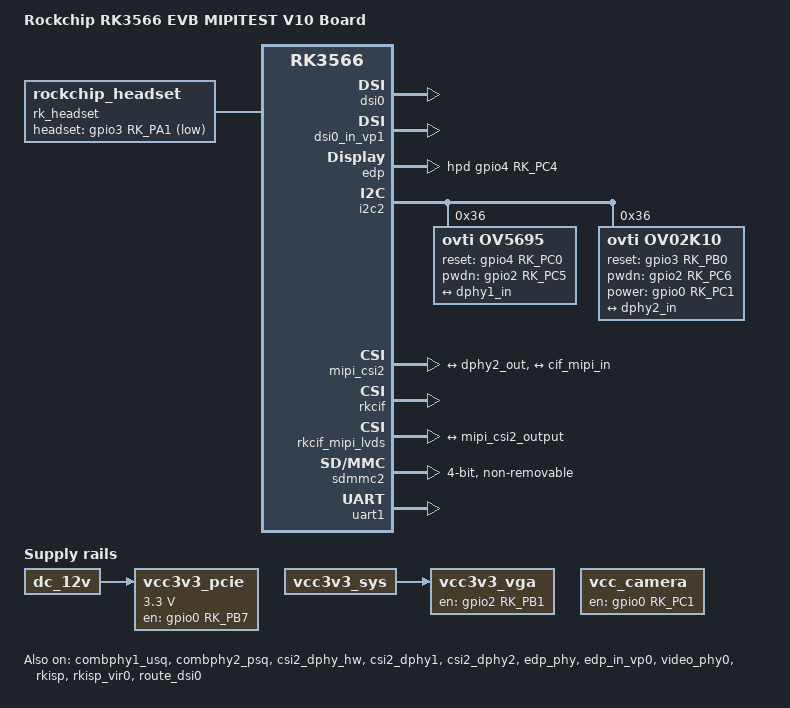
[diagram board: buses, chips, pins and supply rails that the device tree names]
// SPDX-License-Identifier: (GPL-2.0+ OR MIT)
/*
 * Copyright (c) 2020 Rockchip Electronics Co., Ltd.
 */

/dts-v1/;

#include <dt-bindings/gpio/gpio.h>
#include <dt-bindings/pinctrl/rockchip.h>
#include "rk3566.dtsi"
#include "rk3566-evb.dtsi"

/ {
	model = "Rockchip RK3566 EVB MIPITEST V10 Board";
	compatible = "rockchip,rk3566-evb-mipitest-v10", "rockchip,rk3566";

	vcc3v3_pcie: gpio-regulator {
		compatible = "regulator-fixed";
		regulator-name = "vcc3v3_pcie";
		regulator-min-microvolt = <3300000>;
		regulator-max-microvolt = <3300000>;
		enable-active-high;
		gpio = <&gpio0 RK_PB7 GPIO_ACTIVE_HIGH>;
		startup-delay-us = <5000>;
		vin-supply = <&dc_12v>;
	};

	rk_headset: rk-headset {
		compatible = "rockchip_headset";
		headset_gpio = <&gpio3 RK_PA1 GPIO_ACTIVE_LOW>;
		pinctrl-names = "default";
		pinctrl-0 = <&hp_det>;
	};

	vcc3v3_vga: vcc3v3-vga {
		compatible = "regulator-fixed";
		regulator-name = "vcc3v3_vga";
		regulator-always-on;
		regulator-boot-on;
		gpio = <&gpio2 RK_PB1 GPIO_ACTIVE_HIGH>;
		enable-active-high;
		vin-supply = <&vcc3v3_sys>;
	};

	vcc_camera: vcc-camera-regulator {
		compatible = "regulator-fixed";
		gpio = <&gpio0 RK_PC1 GPIO_ACTIVE_HIGH>;
		pinctrl-names = "default";
		pinctrl-0 = <&camera_pwr>;
		regulator-name = "vcc_camera";
		enable-active-high;
		regulator-always-on;
		regulator-boot-on;
	};
};

&audiopwmout_diff {
	status = "disabled";
};

&combphy1_usq {
	status = "okay";
};

&combphy2_psq {
	status = "okay";
};

&csi2_dphy_hw {
	status = "okay";
};

&csi2_dphy1 {
	status = "okay";

	/*
	 * dphy1 only used for split mode,
	 * can be used  concurrently  with dphy2
	 * full mode and split mode are mutually exclusive
	 */
	ports {
		#address-cells = <1>;
		#size-cells = <0>;

		port@0 {
			reg = <0>;
			#address-cells = <1>;
			#size-cells = <0>;

			dphy1_in: endpoint@1 {
				reg = <1>;
				remote-endpoint = <&ov5695_out>;
				data-lanes = <1 2>;
			};
		};

		port@1 {
			reg = <1>;
			#address-cells = <1>;
			#size-cells = <0>;

			dphy1_out: endpoint@1 {
				reg = <1>;
				remote-endpoint = <&isp0_in>;
			};
		};
	};
};

&csi2_dphy2 {
	status = "okay";

	/*
	 * dphy2 only used for split mode,
	 * can be used  concurrently  with dphy1
	 * full mode and split mode are mutually exclusive
	 */
	ports {
		#address-cells = <1>;
		#size-cells = <0>;

		port@0 {
			reg = <0>;
			#address-cells = <1>;
			#size-cells = <0>;

			dphy2_in: endpoint@1 {
				reg = <1>;
				remote-endpoint = <&ov02k10_out>;
				data-lanes = <1 2>;
			};
		};

		port@1 {
			reg = <1>;
			#address-cells = <1>;
			#size-cells = <0>;

			dphy2_out: endpoint@1 {
				reg = <1>;
				remote-endpoint = <&mipi_csi2_input>;
			};
		};
	};
};

&dig_acodec {
	status = "disabled";
	rockchip,pwm-output-mode;
	pinctrl-names = "default";
	pinctrl-0 = <&audiopwm_loutp
		&audiopwm_loutn
		&audiopwm_routp
		&audiopwm_routn
	>;
};

/*
 * video_phy0 needs to be enabled
 * when dsi0 is enabled
 */
&dsi0 {
	status = "okay";
};

&dsi0_in_vp0 {
	status = "disabled";
};

&dsi0_in_vp1 {
	status = "okay";
};

&dsi0_panel {
	power-supply = <&vcc3v3_lcd0_n>;
	reset-gpios = <&gpio4 RK_PC5 GPIO_ACTIVE_LOW>;
	pinctrl-names = "default";
	pinctrl-0 = <&lcd0_rst_gpio>;
};

/*
 * video_phy1 needs to be enabled
 * when dsi1 is enabled
 */
&dsi1 {
	status = "disabled";
};

&dsi1_in_vp0 {
	status = "disabled";
};

&dsi1_in_vp1 {
	status = "disabled";
};

&dsi1_panel {
	power-supply = <&vcc3v3_lcd1_n>;
	reset-gpios = <&gpio4 RK_PC6 GPIO_ACTIVE_LOW>;
	pinctrl-names = "default";
	pinctrl-0 = <&lcd1_rst_gpio>;
};

&edp {
	hpd-gpios = <&gpio4 RK_PC4 GPIO_ACTIVE_HIGH>;
	status = "okay";
};

&edp_phy {
	status = "okay";
};

&edp_in_vp0 {
	status = "okay";
};

&edp_in_vp1 {
	status = "disabled";
};

/*
 * power-supply should switche to vcc3v3_lcd1_n
 * when mipi panel is connected to dsi1.
 */
&gt1x {
	status = "disabled";
	power-supply = <&vcc3v3_lcd0_n>;
};

&hdmi {
	status = "disabled";
};

&i2c2 {
	status = "okay";
	pinctrl-names = "default";
	pinctrl-0 = <&i2c2m1_xfer>;

	/* split mode: lane0/1 */
	ov5695: ov5695@36 {
		status = "okay";
		compatible = "ovti,ov5695";
		reg = <0x36>;
		clocks = <&cru CLK_CAM0_OUT>;
		clock-names = "xvclk";
		power-domains = <&power RK3568_PD_VI>;
		pinctrl-names = "default";
		pinctrl-0 = <&cam_clkout0>;
		reset-gpios = <&gpio4 RK_PC0 GPIO_ACTIVE_HIGH>;
		pwdn-gpios = <&gpio2 RK_PC5 GPIO_ACTIVE_HIGH>;
		/*power-gpios = <&gpio0 RK_PC1 GPIO_ACTIVE_HIGH>;*/
		rockchip,camera-module-index = <0>;
		rockchip,camera-module-facing = "back";
		rockchip,camera-module-name = "TongJu";
		rockchip,camera-module-lens-name = "CHT842-MD";
		port {
			ov5695_out: endpoint {
				remote-endpoint = <&dphy1_in>;
				data-lanes = <1 2>;
			};
		};
	};

	ov02k10: ov02k10@36 {
		status = "okay";
		compatible = "ovti,ov02k10";
		reg = <0x36>;
		clocks = <&cru CLK_CAM1_OUT>;
		clock-names = "xvclk";
		pinctrl-names = "default";
		pinctrl-0 = <&cam_clkout1>;
		reset-gpios = <&gpio3 RK_PB0 GPIO_ACTIVE_HIGH>;
		pwdn-gpios = <&gpio2 RK_PC6 GPIO_ACTIVE_HIGH>;
		power-gpios = <&gpio0 RK_PC1 GPIO_ACTIVE_HIGH>;
		rockchip,camera-module-index = <0>;
		rockchip,camera-module-facing = "back";
		rockchip,camera-module-name = "TongJu";
		rockchip,camera-module-lens-name = "CHT842-MD";
		port {
			ov02k10_out: endpoint {
				remote-endpoint = <&dphy2_in>;
				data-lanes = <1 2>;
			};
		};
	};
};

&i2s3_2ch {
	status = "disabled";
};

&mipi_csi2 {
	status = "okay";

	ports {
		#address-cells = <1>;
		#size-cells = <0>;

		port@0 {
			reg = <0>;
			#address-cells = <1>;
			#size-cells = <0>;

			mipi_csi2_input: endpoint@1 {
				reg = <1>;
				remote-endpoint = <&dphy2_out>;
				data-lanes = <1 2>;
			};
		};

		port@1 {
			reg = <1>;
			#address-cells = <1>;
			#size-cells = <0>;

			mipi_csi2_output: endpoint@0 {
				reg = <0>;
				remote-endpoint = <&cif_mipi_in>;
				data-lanes = <1 2>;
			};
		};
	};
};

&video_phy0 {
	status = "okay";
};

&video_phy1 {
	status = "disabled";
};

&pcie2x1 {
	reset-gpios = <&gpio1 RK_PB2 GPIO_ACTIVE_HIGH>;
	vpcie3v3-supply = <&vcc3v3_pcie>;
	status = "disabled";
};

&pdm {
	status = "disabled";
	pinctrl-names = "default";
	pinctrl-0 = <&pdmm1_clk1
		     &pdmm1_sdi1
		     &pdmm1_sdi2
		     &pdmm1_sdi3>;
};

&pdmics {
	status = "disabled";
};

&pdm_mic_array {
	status = "disabled";
};

&rkcif {
	status = "okay";
};

&rkcif_mipi_lvds {
	status = "okay";

	port {
		cif_mipi_in: endpoint {
			remote-endpoint = <&mipi_csi2_output>;
			data-lanes = <1 2>;
		};
	};
};

&rkcif_mmu {
	status = "okay";
};

&rkisp {
	status = "okay";
};

&rkisp_mmu {
	status = "okay";
};

&rkisp_vir0 {
	status = "okay";

	port {
		#address-cells = <1>;
		#size-cells = <0>;

		isp0_in: endpoint@0 {
			reg = <0>;
			remote-endpoint = <&dphy1_out>;
		};
	};
};

&route_dsi0 {
	status = "okay";
	connect = <&vp1_out_dsi0>;
};

&sdmmc2 {
	max-frequency = <150000000>;
	no-sd;
	no-mmc;
	bus-width = <4>;
	disable-wp;
	cap-sd-highspeed;
	cap-sdio-irq;
	keep-power-in-suspend;
	mmc-pwrseq = <&sdio_pwrseq>;
	non-removable;
	pinctrl-names = "default";
	pinctrl-0 = <&sdmmc2m0_bus4 &sdmmc2m0_cmd &sdmmc2m0_clk>;
	sd-uhs-sdr104;
	status = "okay";
};

&uart1 {
	status = "okay";
	pinctrl-names = "default";
	pinctrl-0 = <&uart1m1_xfer &uart1m1_ctsn>;
};

&u2phy1_host {
	status = "disabled";
};

&u2phy1_otg {
	status = "disabled";
};

&usb2phy1 {
	status = "disabled";
};

&usb_host1_ohci {
	status = "disabled";
};

&vcc3v3_lcd0_n {
	gpio = <&gpio0 RK_PC0 GPIO_ACTIVE_HIGH>;
	enable-active-high;
};

&vcc3v3_lcd1_n {
	gpio = <&gpio0 RK_PC2 GPIO_ACTIVE_HIGH>;
	enable-active-high;
};

&wireless_bluetooth {
	uart_rts_gpios = <&gpio4 RK_PB6 GPIO_ACTIVE_LOW>;
	pinctrl-names = "default", "rts_gpio";
	pinctrl-0 = <&uart1m1_rtsn>;
	pinctrl-1 = <&uart1_gpios>;
	BT,reset_gpio    = <&gpio4 RK_PA5 GPIO_ACTIVE_HIGH>;
	BT,wake_gpio     = <&gpio4 RK_PA6 GPIO_ACTIVE_HIGH>;
	BT,wake_host_irq = <&gpio4 RK_PB1 GPIO_ACTIVE_HIGH>;
	status = "disabled";
};

&wireless_wlan {
	status = "disabled";
	pinctrl-names = "default";
	pinctrl-0 = <&wifi_host_wake_irq>;
	WIFI,host_wake_irq = <&gpio3 RK_PD4 GPIO_ACTIVE_HIGH>;
};

&pinctrl {
	cam {
		camera_pwr: camera-pwr {
			rockchip,pins =
				/* camera power en */
				<0 RK_PC1 RK_FUNC_GPIO &pcfg_pull_none>;
		};
	};

	headphone {
		hp_det: hp-det {
			rockchip,pins = <3 RK_PA1 RK_FUNC_GPIO &pcfg_pull_down>;
		};
	};

	lcd0 {
		lcd0_rst_gpio: lcd0-rst-gpio {
			rockchip,pins = <4 RK_PC5 RK_FUNC_GPIO &pcfg_pull_none>;
		};
	};

	lcd1 {
		lcd1_rst_gpio: lcd1-rst-gpio {
			rockchip,pins = <4 RK_PC6 RK_FUNC_GPIO &pcfg_pull_none>;
		};
	};

	wireless-wlan {
		wifi_host_wake_irq: wifi-host-wake-irq {
			rockchip,pins = <3 RK_PD4 RK_FUNC_GPIO &pcfg_pull_down>;
		};
	};

	wireless-bluetooth {
		uart1_gpios: uart1-gpios {
			rockchip,pins = <4 RK_PB6 RK_FUNC_GPIO &pcfg_pull_none>;
		};
	};
};
